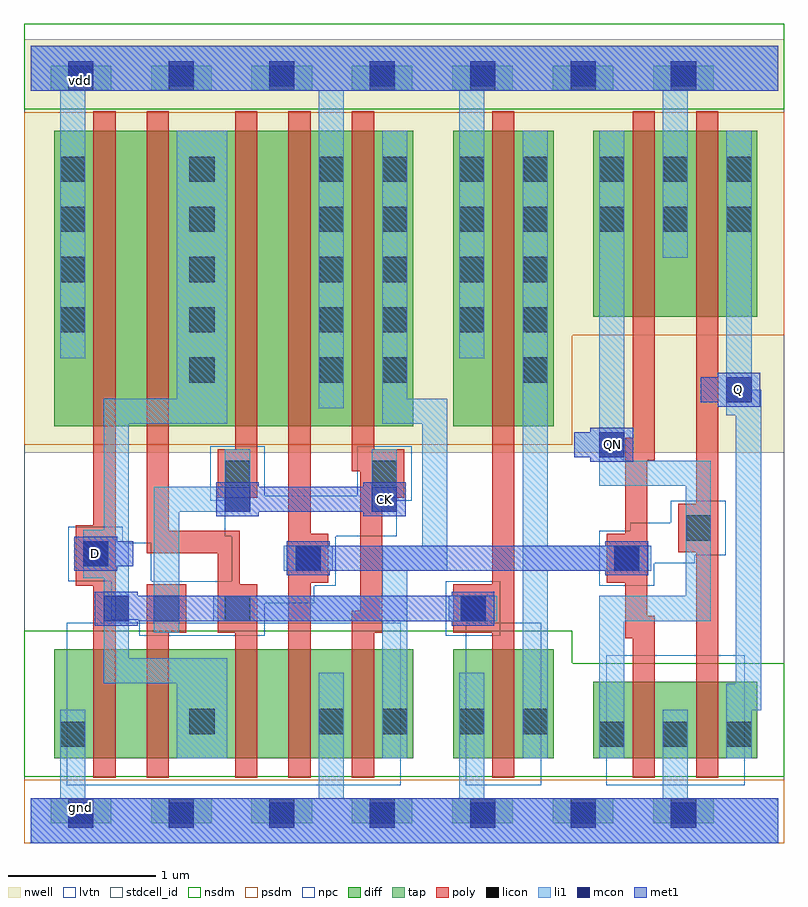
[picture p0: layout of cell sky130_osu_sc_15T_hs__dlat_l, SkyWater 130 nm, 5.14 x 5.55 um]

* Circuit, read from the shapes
.subckt sky130_osu_sc_15T_hs__dlat_l CK D Q QN gnd vdd
XM1 n1 D gnd gnd sky130_fd_pr__nfet_01v8_lvt w=0.74 l=0.15
XM2 D CK n1 gnd sky130_fd_pr__nfet_01v8_lvt w=0.74 l=0.15
XM3 n2 n3 D gnd sky130_fd_pr__nfet_01v8_lvt w=0.74 l=0.15
XM4 gnd n4 n2 gnd sky130_fd_pr__nfet_01v8_lvt w=0.74 l=0.15
XM5 n3 CK gnd gnd sky130_fd_pr__nfet_01v8_lvt w=0.74 l=0.15
XM6 n4 D gnd gnd sky130_fd_pr__nfet_01v8_lvt w=0.74 l=0.15
XM7 gnd n4 QN gnd sky130_fd_pr__nfet_01v8_lvt w=0.52 l=0.15
XM8 Q QN gnd gnd sky130_fd_pr__nfet_01v8_lvt w=0.52 l=0.15
XM9 n5 D vdd vdd sky130_fd_pr__pfet_01v8 w=2 l=0.15
XM10 D n3 n5 vdd sky130_fd_pr__pfet_01v8 w=2 l=0.15
XM11 n6 CK D vdd sky130_fd_pr__pfet_01v8 w=2 l=0.15
XM12 vdd n4 n6 vdd sky130_fd_pr__pfet_01v8 w=2 l=0.15
XM13 n3 CK vdd vdd sky130_fd_pr__pfet_01v8 w=2 l=0.15
XM14 n4 D vdd vdd sky130_fd_pr__pfet_01v8 w=2 l=0.15
XM15 vdd n4 QN vdd sky130_fd_pr__pfet_01v8 w=1.26 l=0.15
XM16 Q QN vdd vdd sky130_fd_pr__pfet_01v8 w=1.26 l=0.15
.ends

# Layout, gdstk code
import gdstk
lib = gdstk.Library(unit=1e-6, precision=1e-09)
def R(c, l, rs):  # rectangles x0, y0, x1, y1
    for r in rs: c.add(gdstk.rectangle(r[:2], r[2:], *l))
def A(c, l, x, y, w, h, nx, ny, dx, dy):  # array of equal rectangles
    R(c, l, [(x+i*dx, y+j*dy, x+i*dx+w, y+j*dy+h) for i in range(nx) for j in range(ny)])
nwell = (64, 20)
diff = (65, 20)
tap = (65, 44)
poly = (66, 20)
licon = (66, 44)
li1 = (67, 20)
mcon = (67, 44)
met1 = (68, 20)
stdcell_id = (81, 4)
nsdm = (93, 44)
psdm = (94, 20)
npc = (95, 20)
lvtn = (125, 44)

sky130_osu_sc_15t_hs__dl = lib.new_cell('sky130_osu_sc_15T_hs__dlat_l')
R(sky130_osu_sc_15t_hs__dl, nwell, [(-0.045,2.645,5.1,5.445)])
R(sky130_osu_sc_15t_hs__dl, diff, [(0.16,0.575,2.59,1.315), (2.86,0.575,3.54,1.315), (3.81,0.575,4.92,1.095), (0.16,2.825,2.59,4.825), (2.86,2.825,3.54,4.825), (3.81,3.565,4.92,4.825)])
A(sky130_osu_sc_15t_hs__dl, tap, 0.135, 0.135, 0.41, 0.17, 7, 2, 0.68, 4.96)
R(sky130_osu_sc_15t_hs__dl, poly, [(0.425,0.445,0.575,1.745), (0.785,0.445,0.935,1.425), (1.385,0.445,1.535,1.425), (1.745,0.445,1.895,1.765), (2.175,0.445,2.325,1.425), (3.125,0.445,3.275,1.425), (4.075,0.445,4.225,1.39), (4.505,0.445,4.655,1.97), (4.025,1.39,4.225,1.54), (0.785,1.425,1.055,1.755), (1.265,1.425,1.535,1.755), (2.175,1.425,2.38,1.575), (2.86,1.425,3.275,1.755), (4.025,1.54,4.175,1.765), (2.23,1.575,2.38,2.34), (0.305,1.745,0.575,2.155), (1.265,1.755,1.415,1.965), (3.125,1.755,3.275,4.955), (1.745,1.765,2.015,2.095), (3.9,1.765,4.175,2.095), (0.785,1.965,1.415,2.115), (4.385,1.97,4.655,2.3), (1.745,2.095,1.895,4.955), (4.025,2.095,4.175,2.595), (0.785,2.115,0.935,4.955), (0.425,2.155,0.575,4.955), (4.505,2.3,4.655,4.955), (1.265,2.34,1.535,2.67), (2.23,2.34,2.53,2.52), (2.175,2.52,2.53,2.67), (4.025,2.595,4.225,2.745), (1.385,2.67,1.535,4.955), (2.175,2.67,2.325,4.955), (4.075,2.745,4.225,4.955)])
A(sky130_osu_sc_15t_hs__dl, licon, 0.255, 0.135, 0.17, 0.17, 7, 2, 0.68, 4.96)
A(sky130_osu_sc_15t_hs__dl, licon, 3.85, 0.655, 0.17, 0.17, 3, 2, 0.43, 3.485)
A(sky130_osu_sc_15t_hs__dl, licon, 2.38, 3.12, 0.17, 0.17, 1, 5, 0, 0.34)
A(sky130_osu_sc_15t_hs__dl, licon, 3.33, 3.12, 0.17, 0.17, 1, 5, 0, 0.34)
A(sky130_osu_sc_15t_hs__dl, licon, 0.2, 3.46, 0.17, 0.17, 3, 4, 0.875, 0.34)
A(sky130_osu_sc_15t_hs__dl, licon, 2.9, 3.46, 0.17, 0.17, 1, 4, 0, 0.34)
A(sky130_osu_sc_15t_hs__dl, licon, 3.85, 4.48, 0.17, 0.17, 3, 1, 0.43, 0)
R(sky130_osu_sc_15t_hs__dl, licon, [(0.2,0.655,0.37,0.825), (1.075,0.74,1.245,0.91), (1.95,0.74,2.12,0.91), (2.38,0.74,2.55,0.91), (2.9,0.74,3.07,0.91), (3.33,0.74,3.5,0.91), (0.835,1.505,1.005,1.675), (1.315,1.505,1.485,1.675), (2.91,1.505,3.08,1.675), (1.795,1.845,1.965,2.015), (3.95,1.845,4.12,2.015), (0.355,1.875,0.525,2.045), (4.435,2.05,4.605,2.22), (1.315,2.42,1.485,2.59), (2.31,2.42,2.48,2.59), (1.075,3.12,1.245,3.29), (1.95,3.12,2.12,3.29)])
R(sky130_osu_sc_15t_hs__dl, li1, [(0,0,5.06,0.305), (0.2,0.305,0.37,0.905), (1.95,0.305,2.12,1.155), (2.9,0.305,3.07,1.155), (4.28,0.305,4.45,0.905), (0.99,0.575,1.33,1.085), (2.38,0.575,2.55,1.505), (3.33,0.575,3.5,1.845), (3.85,0.575,4.02,1.505), (4.71,0.575,4.88,0.9), (4.71,0.9,4.945,1.08), (4.775,1.08,4.945,2.9), (0.495,1.085,1.33,1.255), (0.495,1.255,0.665,1.795), (0.835,1.425,1.005,2.245), (1.235,1.505,2.55,1.675), (2.83,1.505,3.16,1.675), (3.85,1.505,4.605,1.675), (2.38,1.675,2.55,1.845), (4.435,1.675,4.605,2.42), (0.355,1.795,0.665,2.125), (1.715,1.845,2.045,2.015), (2.38,1.845,2.82,2.015), (3.33,1.845,4.2,2.015), (2.65,2.015,2.82,2.84), (3.33,2.015,3.5,4.825), (0.495,2.125,0.665,2.84), (0.835,2.245,1.485,2.415), (2.31,2.245,2.48,2.67), (1.315,2.415,1.485,2.67), (3.85,2.42,4.605,2.59), (3.85,2.59,4.02,4.825), (0.495,2.84,1.33,3.01), (2.38,2.84,2.82,3.01), (4.71,2.9,4.945,3.07), (1.95,2.945,2.12,5.095), (0.99,3.01,1.33,4.825), (2.38,3.01,2.55,4.825), (4.71,3.07,4.88,4.825), (0.2,3.285,0.37,5.095), (2.9,3.285,3.07,5.095), (4.28,3.965,4.45,5.095), (0,5.095,5.06,5.4)])
A(sky130_osu_sc_15t_hs__dl, mcon, 0.255, 0.105, 0.17, 0.17, 7, 2, 0.68, 5.02)
R(sky130_osu_sc_15t_hs__dl, mcon, [(0.495,1.505,0.665,1.675), (2.91,1.505,3.08,1.675), (1.795,1.845,1.965,2.015), (3.95,1.845,4.12,2.015), (0.355,1.875,0.525,2.045), (1.315,2.245,1.485,2.415), (2.31,2.245,2.48,2.415), (3.85,2.615,4.02,2.785), (4.71,2.985,4.88,3.155)])
R(sky130_osu_sc_15t_hs__dl, met1, [(0,0,5.06,0.305), (0.435,1.475,0.725,1.505), (2.85,1.475,3.14,1.505), (0.435,1.505,3.14,1.675), (0.435,1.675,0.725,1.705), (2.85,1.675,3.14,1.705), (1.735,1.815,2.025,1.845), (3.89,1.815,4.18,1.845), (0.295,1.845,0.585,1.875), (1.735,1.845,4.18,2.015), (0.295,1.875,0.695,2.045), (1.735,2.015,2.025,2.045), (3.89,2.015,4.18,2.045), (0.295,2.045,0.585,2.075), (1.255,2.215,1.545,2.245), (2.25,2.215,2.54,2.245), (1.255,2.245,2.54,2.415), (1.255,2.415,1.545,2.445), (2.25,2.415,2.54,2.445), (3.79,2.585,4.08,2.615), (3.68,2.615,4.08,2.785), (3.79,2.785,4.08,2.815), (4.65,2.955,4.94,2.985), (4.535,2.985,4.94,3.155), (4.65,3.155,4.94,3.185), (0,5.095,5.06,5.4)])
R(sky130_osu_sc_15t_hs__dl, stdcell_id, [(-0.045,0,5.1,5.55)])
R(sky130_osu_sc_15t_hs__dl, nsdm, [(-0.045,0.45,5.1,1.22), (-0.045,1.22,3.665,1.44), (-0.045,4.97,5.1,5.55)])
R(sky130_osu_sc_15t_hs__dl, psdm, [(-0.045,0,5.1,0.43), (-0.045,2.7,3.665,3.44), (-0.045,3.44,5.1,4.95)])
R(sky130_osu_sc_15t_hs__dl, npc, [(0.735,1.405,1.585,1.515), (2.81,1.405,3.18,1.775), (0.545,1.515,1.585,1.625), (0.545,1.625,1.92,1.745), (0.545,1.745,2.065,1.775), (3.85,1.745,4.22,1.895), (0.255,1.775,0.815,2.035), (1.36,1.775,2.065,2.08), (3.85,1.895,4.495,1.95), (3.85,1.95,4.705,2.115), (0.255,2.035,0.625,2.145), (1.315,2.08,2.48,2.32), (4.06,2.115,4.705,2.17), (4.335,2.17,4.705,2.32), (1.215,2.32,2.58,2.355), (1.215,2.355,1.585,2.69), (2.21,2.355,2.58,2.69)])
R(sky130_osu_sc_15t_hs__dl, lvtn, [(0.245,0.395,2.505,1.495), (2.945,0.395,3.455,1.495), (3.895,0.395,4.835,1.275)])
sky130_osu_sc_15t_hs__dl.add(gdstk.Label('vdd', (0.34,5.165), layer=68, texttype=16))
sky130_osu_sc_15t_hs__dl.add(gdstk.Label('gnd', (0.34,0.245), layer=68, texttype=16))
sky130_osu_sc_15t_hs__dl.add(gdstk.Label('CK', (2.395,2.33), layer=68, texttype=5))
sky130_osu_sc_15t_hs__dl.add(gdstk.Label('QN', (3.94,2.7), layer=68, texttype=5))
sky130_osu_sc_15t_hs__dl.add(gdstk.Label('D', (0.44,1.96), layer=68, texttype=5))
sky130_osu_sc_15t_hs__dl.add(gdstk.Label('Q', (4.795,3.07), layer=68, texttype=5))

lib.write_gds('sky130_osu_sc_15T_hs__dlat_l.gds')
